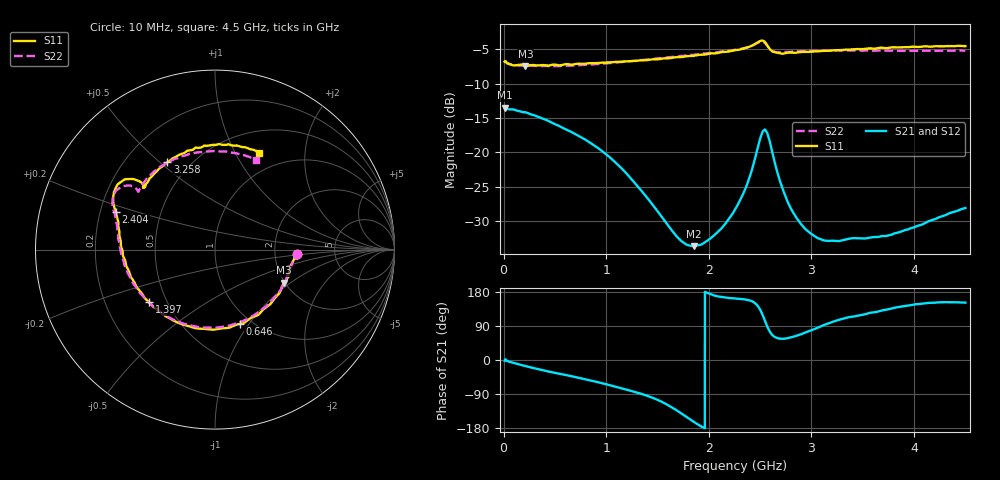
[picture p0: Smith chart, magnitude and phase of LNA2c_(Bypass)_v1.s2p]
! Created Tue Apr 16 19:44:30 2013
# ghz S ma R 50
! 2 Port Network Data from SP1.SP block
! freq  magS11  angS11  magS21  angS21  magS12  angS12  magS22  angS22
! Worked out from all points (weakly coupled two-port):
!   4491 points, 10 MHz to 4.5 GHz, reference 50 ohm
!   highest |S21| = -13.48 dB at 10 MHz (marker M1); lowest = -33.7 dB at 1.851 GHz (marker M2)
!   lowest |S11| = -7.4 dB at 213 MHz (marker M3), VSWR 2.48, Z = 98.9 - j44.4 ohm
!   |S11| at or under -10 dB: nowhere
!   |S22| runs from -7.5 to -3.8 dB; largest |S21 - S12| = 0.00079
!   S11 on the Smith chart (normalised r, x): 10 MHz: 2.68, -0.16; 646 MHz: 0.88, -0.90; 1.397 GHz: 0.40, -0.30; 2.404 GHz: 0.27, +0.17; 3.258 GHz: 0.38, +0.53; 4.5 GHz: 0.75, +1.26
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0.01  0.4577 -2.9  0.2119 -2.0  0.2113 -2.0  0.4577 -2.8
0.213  0.4252 -25.6  0.196 -16.0  0.1953 -16.1  0.4276 -25.9
0.471  0.4337 -54.6  0.1643 -32.4  0.164 -32.4  0.424 -54.3
0.646  0.436 -71.7  0.1425 -41.8  0.1423 -41.9  0.4279 -72.9
0.759  0.4409 -83.1  0.1284 -48.4  0.1282 -48.5  0.4325 -84.6
1.079  0.4551 -114.1  0.08596 -69.6  0.08574 -69.8  0.4499 -115.9
1.397  0.4692 -141.4  0.04696 -94.3  0.0467 -94.7  0.4733 -142.5
1.507  0.476 -149.8  0.03675 -106.0  0.03662 -106.4  0.484 -150.5
1.712  0.493 -163.9  0.02338 -137.3  0.02335 -138.0  0.5019 -164.1
1.851  0.5039 -172.9  0.02077 -162.9  0.02085 -163.3  0.5129 -172.1
2.046  0.5257 176.8  0.02468 170.8  0.02484 170.7  0.5311 177.4
2.255  0.5546 166.5  0.03826 162.5  0.03844 162.3  0.5565 167.8
2.404  0.5905 159.2  0.06832 156.6  0.06849 156.4  0.5897 160.9
2.508  0.6495 149.1  0.1314 128.7  0.1312 128.6  0.6404 151.8
2.554  0.6257 141.1  0.1441 98.5  0.1442 98.6  0.6158 144.8
2.615  0.5446 137.6  0.1027 66.6  0.1029 66.8  0.5494 142.4
2.685  0.5278 139.3  0.06455 56.7  0.06484 57.0  0.5348 142.9
2.774  0.5328 137.0  0.04264 58.0  0.043 58.3  0.538 141.3
3.004  0.5417 128.9  0.02532 79.1  0.02553 78.7  0.5491 133.3
3.258  0.5541 118.5  0.02263 105.3  0.02244 104.8  0.5533 123.1
3.752  0.5765 97.2  0.02489 134.0  0.02482 134.5  0.5504 100.5
4.5  0.5939 65.5  0.03937 151.4  0.0391 151.5  0.5496 65.2
